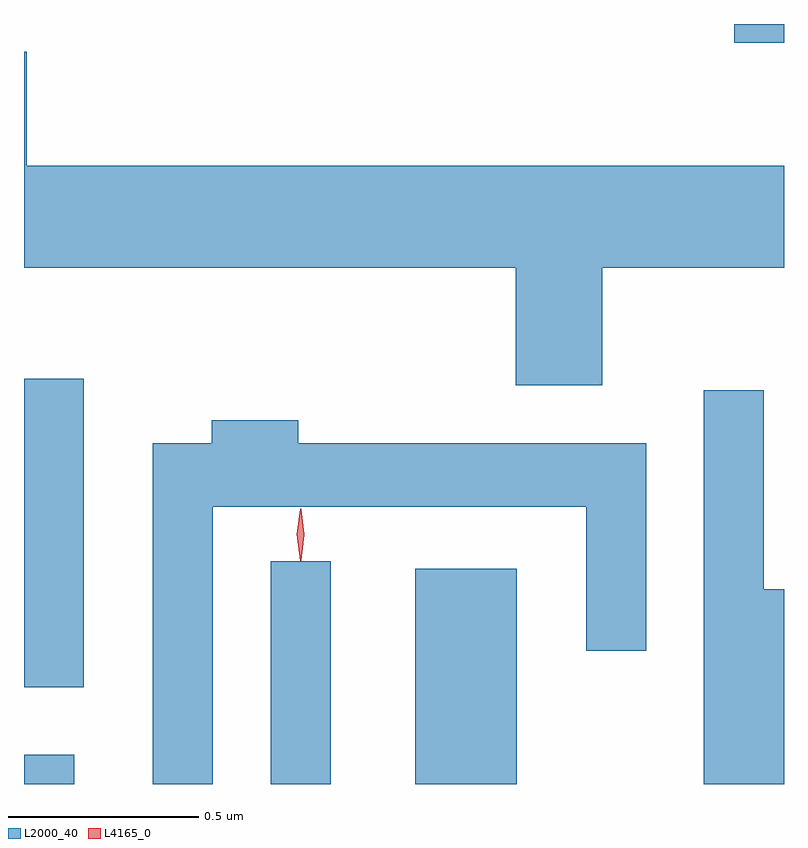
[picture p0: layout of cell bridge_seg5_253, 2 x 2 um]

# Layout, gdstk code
import gdstk
lib = gdstk.Library(unit=1e-6, precision=1e-09)
def R(c, l, rs):  # rectangles x0, y0, x1, y1
    for r in rs: c.add(gdstk.rectangle(r[:2], r[2:], *l))
def P(c, l, *ps):  # polygons
    for p in ps: c.add(gdstk.Polygon(p, *l))
L2000_40 = (2000, 40)
L4165_0 = (4165, 0)

bridge_seg5_253 = lib.new_cell('bridge_seg5_253')
R(bridge_seg5_253, L2000_40, [(1334.217,1426.577,1334.349,1426.654), (1334.866,1426.577,1335.024,1427.163), (1335.246,1426.577,1335.514,1427.144), (1334.217,1426.831,1334.374,1427.644), (1336.086,1428.528,1336.217,1428.577)])
P(bridge_seg5_253, L2000_40, [(1335.739,1427.936),(1336.217,1427.936),(1336.217,1428.204),(1334.224,1428.204),(1334.224,1428.504),(1334.217,1428.504),(1334.217,1427.936),(1335.511,1427.936),(1335.511,1427.626),(1335.739,1427.626)],
  [(1336.217,1427.089),(1336.164,1427.089),(1336.164,1427.613),(1336.006,1427.613),(1336.006,1426.577),(1336.217,1426.577)],
  [(1334.714,1427.306),(1335.696,1427.306),(1335.696,1426.928),(1335.854,1426.928),(1335.854,1427.474),(1334.939,1427.474),(1334.939,1427.534),(1334.711,1427.534),(1334.711,1427.474),(1334.556,1427.474),(1334.556,1426.577),(1334.714,1426.577)])
P(bridge_seg5_253, L4165_0, [(1334.944,1427.164),(1334.935,1427.234),(1334.945,1427.302),(1334.945,1427.303),(1334.946,1427.302),(1334.955,1427.233),(1334.946,1427.164),(1334.945,1427.164)],
  [(1334.944,1427.167),(1334.935,1427.234),(1334.944,1427.3),(1334.945,1427.301),(1334.946,1427.3),(1334.955,1427.234),(1334.946,1427.167),(1334.945,1427.167)])

lib.write_gds('bridge_seg5_253.gds')
